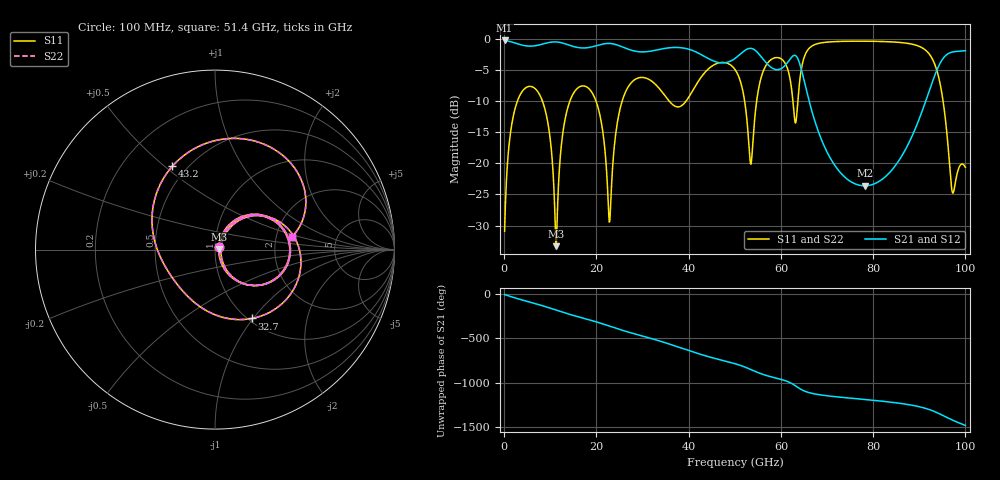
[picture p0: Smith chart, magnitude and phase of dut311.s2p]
! Touchstone file exported from HFSS 2026.1.0
!  File:  C:/ffzhzh/LocalFiles/Ansys_Project_Files/temp_train_TSV_RDL_311_1783698728_44652.aedt
!  Generated:  12:29:32 AM Jul 11, 2026
!  Design:  TSV_RDL
!  Project:  temp_train_TSV_RDL_311_1783698728_44652
! Variables:
!  h_bsmrdl = 2.66um
!  h_ox = 20um
!  h_rdl = 5um
!  h_sub = 93.84um
!  h_tmrdl = 4.08um
!  h_tsv = 93.84um
!  h_via = 3um
!  l_bsmrdl = 678.29um
!  l_sub = 4962.66um
!  l_tmrdl = 599.9um
!  m_sub = 200um
!  pitch = 43.77um
!  r_tsv = 14.19um
!  s_tmrdl = 10um
!  w_bsmrdl = 17.7um
!  w_sub = 500um
!  w_tmrdl = 25.03um
!  x_tsv_center1 = 612.415um
!  x_tsv_center2 = 1308.405um
!  x_tsv_center3 = 1933.335um
!  x_tsv_center4 = 2629.325um
!  x_tsv_center5 = 3254.255um
!  x_tsv_center6 = 3950.245um
# GHz S MA R 50.000000
! Terminal data exported
! Port[1] = TM_RDL1_1_T1
! Port[2] = TM_RDL5_1_T1
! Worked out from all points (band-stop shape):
!   1000 points, 100 MHz to 100 GHz, reference 50 ohm
!   highest |S21| = -0.21 dB at 100 MHz (marker M1); lowest = -23.6 dB at 78.2 GHz (marker M2)
!   |S21| within 3 dB of the highest: start of sweep to 44.5 GHz; 49.83 GHz to 56.13 GHz (6.301 GHz wide, 11.9 % of centre) (the widest 2 of 4)
!   lowest |S11| = -33.3 dB at 11.3 GHz (marker M3), VSWR 1.04, Z = 52.2 + j0.387 ohm
!   |S11| at or under -10 dB: 8.314 GHz to 14.24 GHz (5.928 GHz wide, 52.6 % of centre); 19.93 GHz to 25.57 GHz (5.645 GHz wide, 24.8 % of centre); 95.17 GHz to end of sweep (the widest 3 of 7)
!   |S22| runs from -33.3 to -0.3 dB; largest |S21 - S12| = 3.5e-13
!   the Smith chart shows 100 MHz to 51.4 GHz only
!   S11 on the Smith chart (normalised r, x): 100 MHz: 1.05, +0.03; 32.7 GHz: 1.04, -0.99; 43.2 GHz: 0.42, +0.53; 51.4 GHz: 2.44, +0.43
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0.1  0.02845 29.5  0.9756 -1.8  0.9756 -1.8  0.02845 29.5
! Gamma 0 0 0 0
! Port Impedance 50 0 50 0
5.6  0.4168 -1.1  0.8781 -88.3  0.8781 -88.3  0.4168 -1.1
11.3  0.02156 9.9  0.9491 -178.5  0.9491 -178.5  0.02155 9.9
16.8  0.4194 3.2  0.8493 95.1  0.8493 95.1  0.4194 3.2
23.2  0.05743 46.1  0.9204 -6.6  0.9204 -6.6  0.05759 45.8
27.5  0.4432 10.2  0.8156 -76.5  0.8156 -76.5  0.4431 10.3
32.7  0.4361 -61.7  0.8124 -152.8  0.8124 -152.8  0.436 -61.5
33.4  0.4097 -72.2  0.8226 -163.8  0.8226 -163.8  0.4096 -72.0
38.7  0.2957 -163.9  0.8495 106.5  0.8495 106.5  0.2955 -163.8
43.2  0.5217 117.1  0.7336 30.0  0.7336 30.0  0.5216 117.1
50.1  0.5659 26.6  0.7017 -67.1  0.7017 -67.1  0.566 26.6
51.4  0.4337 9.4  0.7686 -88.9  0.7686 -88.9  0.4338 9.4
53.5  0.09839 47.8  0.8427 -133.2  0.8427 -133.2  0.09869 47.8
55  0.3689 88.3  0.7764 -166.7  0.7764 -166.7  0.369 88.2
61.8  0.5167 6.3  0.6758 83.4  0.6758 83.4  0.5168 6.3
66.7  0.8786 37.8  0.2642 -42.4  0.2642 -42.4  0.8786 37.8
78.2  0.9623 -22.7  0.066 -112.5  0.066 -112.5  0.9623 -22.7
83.4  0.9525 -47.6  0.08311 -140.2  0.08311 -140.2  0.9525 -47.5
90.2  0.8678 -98.6  0.239 163.0  0.239 163.0  0.8678 -98.4
95  0.3475 -178.0  0.6855 69.1  0.6855 69.1  0.3469 -177.8
97.2  0.05803 -152.4  0.7879 13.7  0.7879 13.7  0.05654 -151.3
100  0.09298 -129.6  0.8071 -47.0  0.8071 -47.0  0.09344 -127.9
